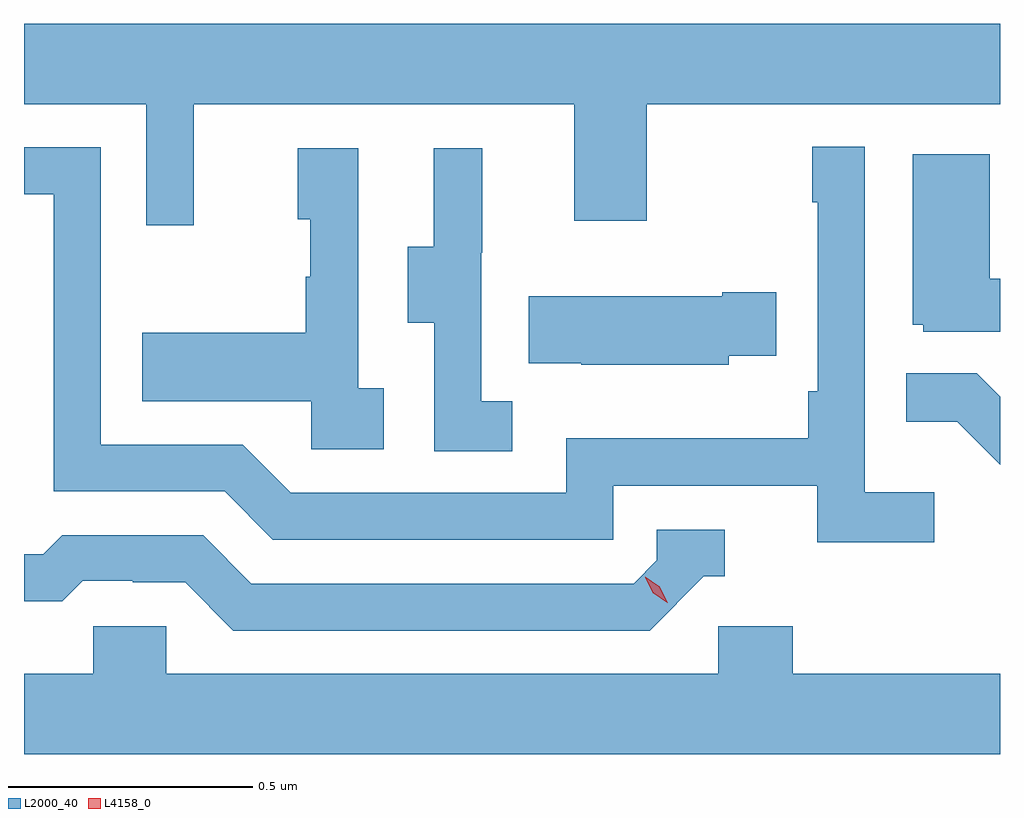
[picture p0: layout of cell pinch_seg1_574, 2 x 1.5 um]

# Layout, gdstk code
import gdstk
lib = gdstk.Library(unit=1e-6, precision=1e-09)
def P(c, l, *ps):  # polygons
    for p in ps: c.add(gdstk.Polygon(p, *l))
L2000_40 = (2000, 40)
L4158_0 = (4158, 0)

pinch_seg1_574 = lib.new_cell('pinch_seg1_574')
P(pinch_seg1_574, L2000_40, [(1025.675,515.768),(1026.455,515.768),(1026.455,515.529),(1026.603,515.529),(1026.603,515.768),(1027.327,515.768),(1027.327,515.932),(1025.327,515.932),(1025.327,515.768),(1025.577,515.768),(1025.577,515.52),(1025.675,515.52)],
  [(1027.192,514.972),(1027.05,514.972),(1027.05,515.68),(1026.942,515.68),(1026.942,515.567),(1026.954,515.567),(1026.954,515.179),(1026.934,515.179),(1026.934,515.083),(1026.438,515.083),(1026.438,514.971),(1025.874,514.971),(1025.775,515.07),(1025.484,515.07),(1025.484,515.679),(1025.327,515.679),(1025.327,515.583),(1025.388,515.583),(1025.388,514.974),(1025.738,514.974),(1025.837,514.875),(1026.534,514.875),(1026.534,514.986),(1026.953,514.986),(1026.953,514.87),(1027.192,514.87)],
  [(1026.328,515.159),(1026.264,515.159),(1026.264,515.463),(1026.266,515.463),(1026.266,515.677),(1026.167,515.677),(1026.167,515.475),(1026.113,515.475),(1026.113,515.32),(1026.168,515.32),(1026.168,515.056),(1026.328,515.056)],
  [(1026.064,515.186),(1026.012,515.186),(1026.012,515.677),(1025.888,515.677),(1025.888,515.532),(1025.914,515.532),(1025.914,515.414),(1025.904,515.414),(1025.904,515.299),(1025.569,515.299),(1025.569,515.159),(1025.916,515.159),(1025.916,515.061),(1026.064,515.061)],
  [(1027.327,515.41),(1027.306,515.41),(1027.306,515.665),(1027.148,515.665),(1027.148,515.316),(1027.17,515.316),(1027.17,515.301),(1027.327,515.301)],
  [(1026.771,515.252),(1026.869,515.252),(1026.869,515.382),(1026.758,515.382),(1026.758,515.374),(1026.361,515.374),(1026.361,515.237),(1026.469,515.237),(1026.469,515.234),(1026.771,515.234)],
  [(1027.327,515.168),(1027.279,515.216),(1027.135,515.216),(1027.135,515.117),(1027.239,515.117),(1027.327,515.029)],
  [(1026.72,514.8),(1026.763,514.8),(1026.763,514.896),(1026.624,514.896),(1026.624,514.833),(1026.576,514.785),(1025.793,514.785),(1025.694,514.884),(1025.405,514.884),(1025.366,514.845),(1025.327,514.845),(1025.327,514.749),(1025.405,514.749),(1025.447,514.791),(1025.55,514.791),(1025.55,514.788),(1025.657,514.788),(1025.756,514.689),(1026.609,514.689)],
  [(1027.327,514.6),(1026.902,514.6),(1026.902,514.698),(1026.75,514.698),(1026.75,514.6),(1025.619,514.6),(1025.619,514.698),(1025.469,514.698),(1025.469,514.6),(1025.327,514.6),(1025.327,514.436),(1027.327,514.436)])
P(pinch_seg1_574, L4158_0, [(1026.645,514.746),(1026.615,514.766),(1026.6,514.798),(1026.6,514.799),(1026.6,514.799),(1026.63,514.779),(1026.646,514.746),(1026.646,514.746)])

lib.write_gds('pinch_seg1_574.gds')
